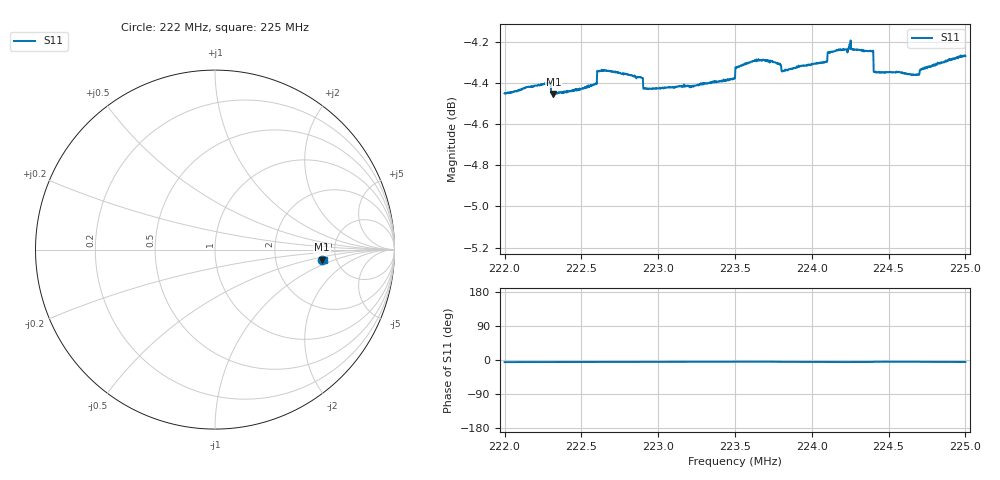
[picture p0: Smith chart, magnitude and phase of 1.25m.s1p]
! Calibrated averaged scanner-service zoom
# Hz S RI R 50
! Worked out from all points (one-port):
!   1001 points, 222 MHz to 225 MHz, reference 50 ohm
!   lowest |S11| = -4.5 dB at 222.32 MHz (marker M1), VSWR 3.99, Z = 193 - j33.6 ohm
!   |S11| at or under -10 dB: nowhere
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2.22e8  0.5962 -0.0584
2.22285e8  0.5996 -0.0575
2.22318e8  0.5962 -0.0559
2.22375e8  0.5967 -0.0555
2.22585e8  0.5997 -0.0552
2.22618e8  0.6041 -0.0543
2.2275e8  0.6037 -0.0534
2.22885e8  0.6022 -0.0522
2.22918e8  0.5985 -0.0519
2.23125e8  0.5991 -0.0511
2.23179e8  0.5995 -0.0508
2.23266e8  0.6 -0.0496
2.23482e8  0.6017 -0.0489
2.235e8  0.6022 -0.0488
2.23518e8  0.606 -0.0483
2.23656e8  0.6084 -0.0487
2.23785e8  0.607 -0.0495
2.23818e8  0.6044 -0.0524
2.23875e8  0.6052 -0.0529
2.24085e8  0.6071 -0.0551
2.24118e8  0.6103 -0.0586
2.2425e8  0.6114 -0.0577
2.24385e8  0.6108 -0.0556
2.24418e8  0.6041 -0.0494
2.24625e8  0.6036 -0.0494
2.24685e8  0.6033 -0.0493
2.24718e8  0.605 -0.0526
2.25e8  0.6091 -0.0562
